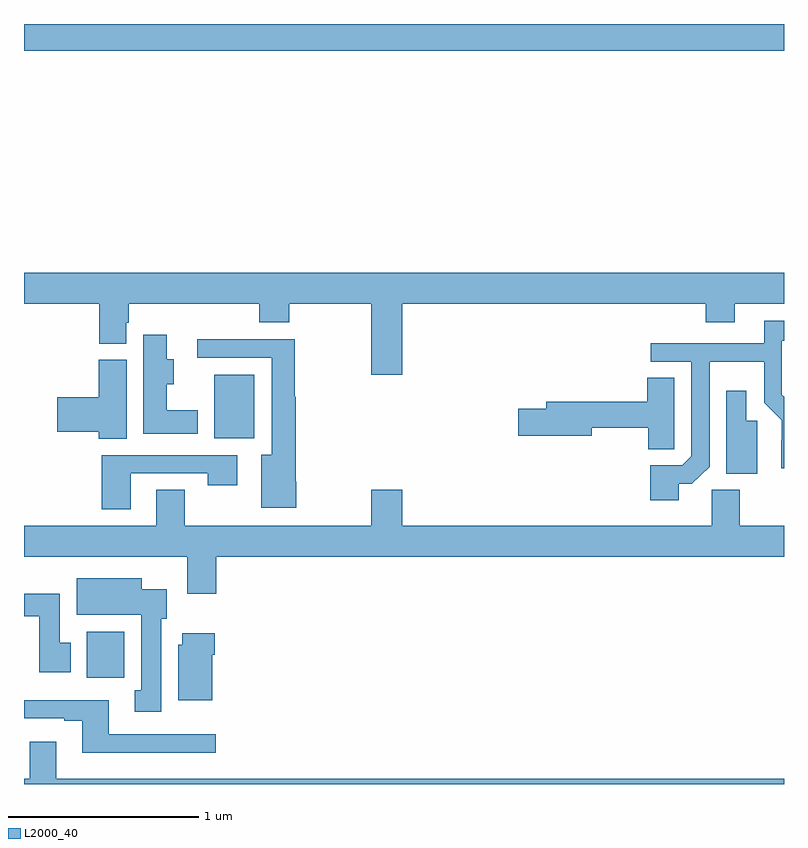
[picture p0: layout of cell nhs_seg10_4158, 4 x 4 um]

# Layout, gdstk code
import gdstk
lib = gdstk.Library(unit=1e-6, precision=1e-09)
def R(c, l, rs):  # rectangles x0, y0, x1, y1
    for r in rs: c.add(gdstk.rectangle(r[:2], r[2:], *l))
def P(c, l, *ps):  # polygons
    for p in ps: c.add(gdstk.Polygon(p, *l))
L2000_40 = (2000, 40)

nhs_seg10_4158 = lib.new_cell('nhs_seg10_4158')
R(nhs_seg10_4158, L2000_40, [(343.331,1253.06,343.528,1253.302), (344,1254.32,344.212,1254.655), (343,1256.36,347,1256.5)])
P(nhs_seg10_4158, L2000_40, [(344.992,1255.028),(346.589,1255.028),(346.589,1254.929),(346.741,1254.929),(346.741,1255.028),(347,1255.028),(347,1255.192),(343,1255.192),(343,1255.028),(343.397,1255.028),(343.397,1254.817),(343.537,1254.817),(343.537,1254.927),(343.55,1254.927),(343.55,1255.028),(344.237,1255.028),(344.237,1254.929),(344.397,1254.929),(344.397,1255.028),(344.828,1255.028),(344.828,1254.654),(344.992,1254.654)],
  [(346.447,1254.079),(346.515,1254.079),(346.608,1254.171),(346.608,1254.722),(346.896,1254.722),(346.896,1254.506),(346.988,1254.414),(346.988,1254.308),(346.986,1254.308),(346.986,1254.162),(347,1254.162),(347,1254.538),(346.989,1254.549),(346.989,1254.833),(347,1254.833),(347,1254.937),(346.895,1254.937),(346.895,1254.819),(346.299,1254.819),(346.299,1254.723),(346.512,1254.723),(346.512,1254.225),(346.464,1254.177),(346.295,1254.177),(346.295,1253.994),(346.447,1253.994)],
  [(343.915,1254.466),(343.75,1254.466),(343.75,1254.605),(343.789,1254.605),(343.789,1254.735),(343.75,1254.735),(343.75,1254.865),(343.628,1254.865),(343.628,1254.344),(343.915,1254.344)],
  [(344.434,1254.09),(344.429,1254.09),(344.429,1254.537),(344.424,1254.537),(344.424,1254.842),(343.911,1254.842),(343.911,1254.744),(344.303,1254.744),(344.303,1254.232),(344.249,1254.232),(344.249,1253.954),(344.434,1253.954)],
  [(343.54,1254.732),(343.394,1254.732),(343.394,1254.536),(343.176,1254.536),(343.176,1254.353),(343.394,1254.353),(343.394,1254.316),(343.54,1254.316)],
  [(346.422,1254.37),(346.423,1254.37),(346.423,1254.638),(346.28,1254.638),(346.28,1254.512),(345.749,1254.512),(345.749,1254.476),(345.6,1254.476),(345.6,1254.334),(345.988,1254.334),(345.988,1254.376),(346.285,1254.376),(346.285,1254.262),(346.422,1254.262)],
  [(346.858,1254.411),(346.801,1254.411),(346.801,1254.571),(346.697,1254.571),(346.697,1254.133),(346.858,1254.133)],
  [(343.561,1254.135),(343.966,1254.135),(343.966,1254.072),(344.122,1254.072),(344.122,1254.231),(343.409,1254.231),(343.409,1253.946),(343.561,1253.946)],
  [(344.012,1253.696),(347,1253.696),(347,1253.86),(346.767,1253.86),(346.767,1254.048),(346.62,1254.048),(346.62,1253.86),(344.992,1253.86),(344.992,1254.049),(344.828,1254.049),(344.828,1253.86),(343.845,1253.86),(343.845,1254.05),(343.697,1254.05),(343.697,1253.86),(343,1253.86),(343,1253.696),(343.859,1253.696),(343.859,1253.502),(344.012,1253.502)],
  [(343.723,1253.37),(343.75,1253.37),(343.75,1253.524),(343.621,1253.524),(343.621,1253.584),(343.277,1253.584),(343.277,1253.39),(343.616,1253.39),(343.616,1252.994),(343.583,1252.994),(343.583,1252.881),(343.723,1252.881)],
  [(343.246,1253.244),(343.189,1253.244),(343.189,1253.502),(343,1253.502),(343,1253.384),(343.079,1253.384),(343.079,1253.088),(343.246,1253.088)],
  [(343.99,1253.18),(344.003,1253.18),(344.003,1253.293),(343.832,1253.293),(343.832,1253.232),(343.811,1253.232),(343.811,1252.94),(343.99,1252.94)],
  [(344.008,1252.761),(343.447,1252.761),(343.447,1252.942),(343,1252.942),(343,1252.845),(343.211,1252.845),(343.211,1252.833),(343.307,1252.833),(343.307,1252.664),(344.008,1252.664)],
  [(347,1252.528),(343.171,1252.528),(343.171,1252.723),(343.031,1252.723),(343.031,1252.528),(343,1252.528),(343,1252.5),(347,1252.5)])

lib.write_gds('nhs_seg10_4158.gds')
